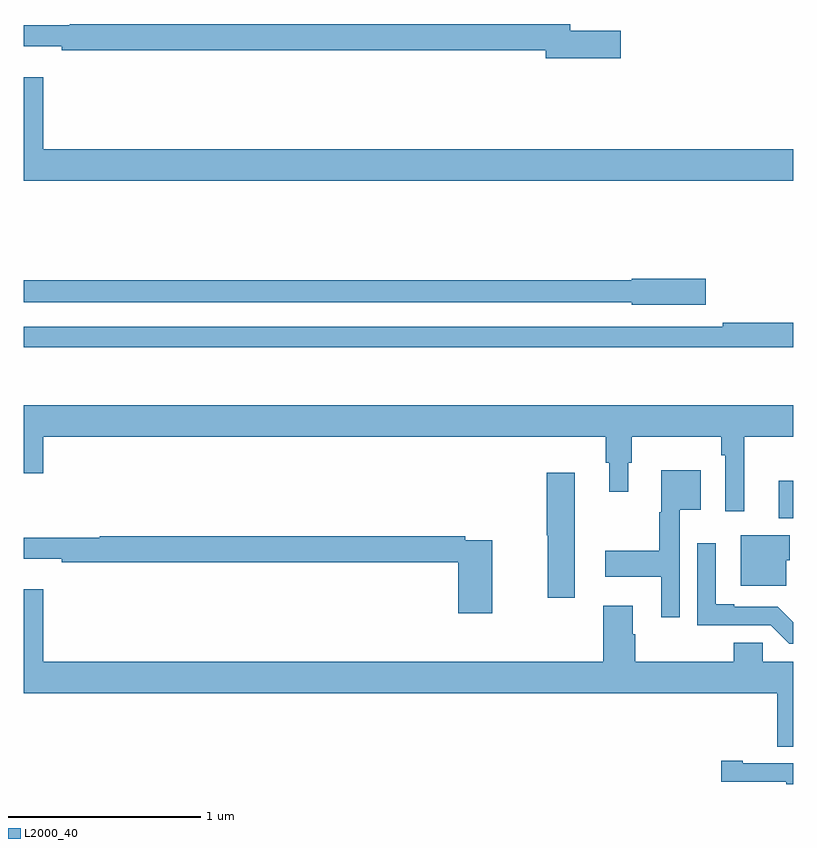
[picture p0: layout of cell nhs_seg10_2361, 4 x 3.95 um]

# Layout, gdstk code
import gdstk
lib = gdstk.Library(unit=1e-6, precision=1e-09)
def R(c, l, rs):  # rectangles x0, y0, x1, y1
    for r in rs: c.add(gdstk.rectangle(r[:2], r[2:], *l))
def P(c, l, *ps):  # polygons
    for p in ps: c.add(gdstk.Polygon(p, *l))
L2000_40 = (2000, 40)

nhs_seg10_2361 = lib.new_cell('nhs_seg10_2361')
R(nhs_seg10_2361, L2000_40, [(240.926,1295.898,241,1296.091)])
P(nhs_seg10_2361, L2000_40, [(240.103,1298.432),(239.842,1298.432),(239.842,1298.468),(237.238,1298.468),(237.238,1298.461),(237,1298.461),(237,1298.351),(237.196,1298.351),(237.196,1298.332),(239.714,1298.332),(239.714,1298.29),(240.103,1298.29)],
  [(241,1297.816),(237.1,1297.816),(237.1,1298.191),(237,1298.191),(237,1297.652),(241,1297.652)],
  [(240.547,1297.142),(240.162,1297.142),(240.162,1297.136),(237,1297.136),(237,1297.02),(240.162,1297.02),(240.162,1297.007),(240.547,1297.007)],
  [(241,1296.914),(240.634,1296.914),(240.634,1296.894),(237,1296.894),(237,1296.786),(241,1296.786)],
  [(240.746,1296.32),(241,1296.32),(241,1296.484),(237,1296.484),(237,1296.132),(237.1,1296.132),(237.1,1296.32),(240.025,1296.32),(240.025,1296.186),(240.044,1296.186),(240.044,1296.036),(240.142,1296.036),(240.142,1296.186),(240.161,1296.186),(240.161,1296.32),(240.628,1296.32),(240.628,1296.224),(240.648,1296.224),(240.648,1295.934),(240.746,1295.934)],
  [(240.411,1295.942),(240.52,1295.942),(240.52,1296.148),(240.314,1296.148),(240.314,1295.928),(240.303,1295.928),(240.303,1295.729),(240.024,1295.729),(240.024,1295.594),(240.314,1295.594),(240.314,1295.382),(240.411,1295.382)],
  [(239.866,1296.133),(239.72,1296.133),(239.72,1295.808),(239.725,1295.808),(239.725,1295.484),(239.866,1295.484)],
  [(240.964,1295.679),(240.982,1295.679),(240.982,1295.809),(240.728,1295.809),(240.728,1295.546),(240.964,1295.546)],
  [(239.436,1295.784),(239.294,1295.784),(239.294,1295.804),(237.394,1295.804),(237.394,1295.797),(237,1295.797),(237,1295.687),(237.196,1295.687),(237.196,1295.668),(239.258,1295.668),(239.258,1295.403),(239.436,1295.403)],
  [(241,1295.357),(240.921,1295.436),(240.694,1295.436),(240.694,1295.449),(240.598,1295.449),(240.598,1295.767),(240.501,1295.767),(240.501,1295.34),(240.885,1295.34),(240.981,1295.244),(241,1295.244)],
  [(241,1295.152),(240.843,1295.152),(240.843,1295.25),(240.692,1295.25),(240.692,1295.152),(240.179,1295.152),(240.179,1295.294),(240.166,1295.294),(240.166,1295.443),(240.014,1295.443),(240.014,1295.152),(237.1,1295.152),(237.1,1295.527),(237,1295.527),(237,1294.988),(240.917,1294.988),(240.917,1294.708),(241,1294.708)],
  [(241,1294.623),(240.739,1294.623),(240.739,1294.636),(240.627,1294.636),(240.627,1294.527),(240.965,1294.527),(240.965,1294.515),(241,1294.515)])

lib.write_gds('nhs_seg10_2361.gds')
